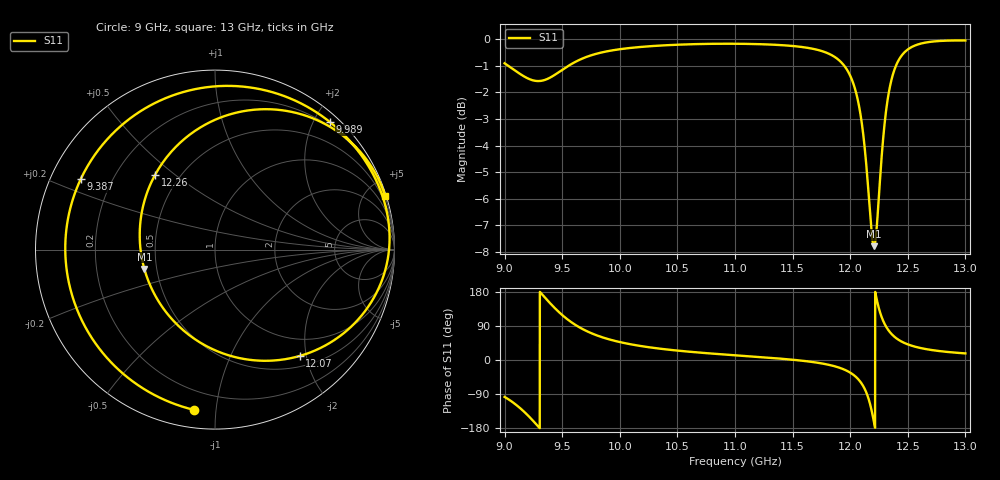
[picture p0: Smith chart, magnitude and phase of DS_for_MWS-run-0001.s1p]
! TOUCHSTONE file generated by CST DESIGN STUDIO
! Date and time: Tue Feb  4 13:25:40 2025
! Project name: C:\Work\MatlabApps\UnitCellOptimizationMatlab\CST\unitcell.cst
! Tree item: Tasks\Sweep1\SPara1\S-Parameters
! Header version: 2024
! Port assignment regex: !\s*Touchstone port\s*([0-9]+)\s*=\s*(CST MWS port|CST DES external port|CST DES block port)\s*(.+)\s* \(\"(.*)\"\)(\s*mode\s*([0-9]+))?.*
! Touchstone port assignment:
! Touchstone port 1 = CST DES external port 1 ("")
# GHz S MA R 50
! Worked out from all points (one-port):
!   4001 points, 9 GHz to 13 GHz, reference 50 ohm
!   lowest |S11| = -7.8 dB at 12.21 GHz (marker M1), VSWR 2.38, Z = 21.3 - j5.51 ohm
!   |S11| at or under -10 dB: nowhere
!   S11 on the Smith chart (normalised r, x): 9 GHz: 0.09, -0.87; 9.387 GHz: 0.09, +0.24; 9.989 GHz: 0.13, +2.23; 12.07 GHz: 0.68, -1.88; 12.26 GHz: 0.37, +0.42; 13 GHz: 0.13, +6.53
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9  0.9007 -97.4
9.125  0.8627 -124.5
9.242  0.8371 -158.8
9.315  0.8347 176.7
9.387  0.8448 152.4
9.5  0.8753 118.7
9.602  0.9033 95.1
9.733  0.9295 73.4
9.989  0.9565 48.1
10  0.9572 47.3
10.5  0.9761 24.8
11  0.9802 12.4
11.5  0.9707 0.7
11.832  0.9348 -14.0
12  0.8535 -33.3
12.072  0.7576 -51.5
12.114  0.6599 -69.4
12.146  0.5589 -90.4
12.175  0.4621 -119.1
12.207  0.4081 -164.7
12.231  0.4446 159.0
12.256  0.5331 128.9
12.294  0.6782 98.2
12.337  0.7977 76.5
12.41  0.9038 55.3
12.5  0.9562 41.2
12.682  0.9874 27.5
13  0.9942 17.4
